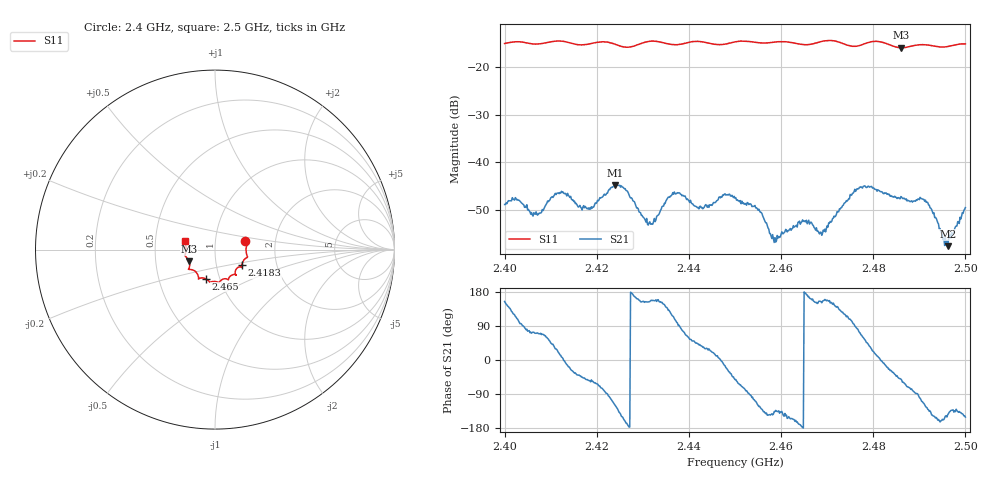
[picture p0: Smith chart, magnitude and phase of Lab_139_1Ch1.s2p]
# Hz S RI R 50
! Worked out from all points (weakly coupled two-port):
!   601 points, 2.4 GHz to 2.5 GHz, reference 50 ohm
!   highest |S21| = -44.75 dB at 2.424 GHz (marker M1); lowest = -57.5 dB at 2.4962 GHz (marker M2)
!   lowest |S11| = -16.0 dB at 2.486 GHz (marker M3), VSWR 1.38, Z = 37.1 - j4.94 ohm
!   |S11| at or under -10 dB: start of sweep to end of sweep
!   S12 and S22 are empty: the file has one direction only
!   S11 on the Smith chart (normalised r, x): 2.4 GHz: 1.40, +0.13; 2.4183 GHz: 1.33, -0.24; 2.465 GHz: 0.86, -0.29; 2.5 GHz: 0.71, +0.07
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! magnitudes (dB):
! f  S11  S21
! 2.4 GHz  -15.1  -48.8
! 2.4075 GHz  -15.2  -50.7
! 2.4125 GHz  -14.6  -46.3
! 2.4167 GHz  -15.4  -49.6
! 2.4183 GHz  -15.2  -49.8
! 2.424 GHz  -15.3  -44.7
! 2.4315 GHz  -14.7  -52.4
! 2.4333 GHz  -14.7  -51.0
! 2.437 GHz  -15.4  -46.5
! 2.4427 GHz  -14.7  -49.5
! 2.45 GHz  -14.8  -47.5
! 2.4553 GHz  -15.0  -50.2
! 2.4585 GHz  -14.9  -56.8
! 2.465 GHz  -15.4  -52.4
! 2.4667 GHz  -15.2  -52.7
! 2.4693 GHz  -14.6  -54.4
! 2.477 GHz  -15.6  -45.2
! 2.4833 GHz  -15.3  -46.7
! 2.486 GHz  -16.0  -47.1
! 2.4913 GHz  -15.4  -47.9
! 2.4962 GHz  -15.8  -57.5
! 2.5 GHz  -15.2  -49.4
